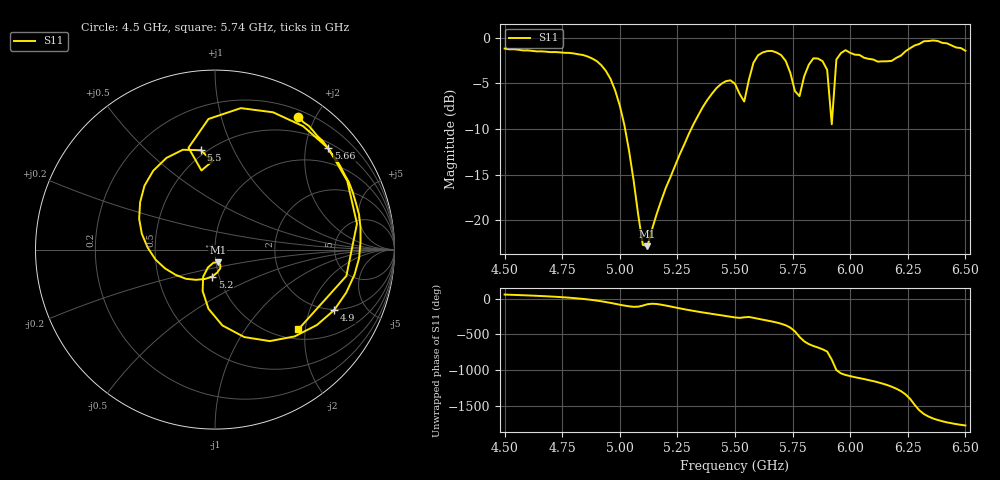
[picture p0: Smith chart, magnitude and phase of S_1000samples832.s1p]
! TOUCHSTONE file generated by CST MICROWAVE STUDIO
! Date and time: Sat Oct 29 13:16:26 2022
! Project name: L.cst
! Parameters = {Di=1.27; Epsilon_r=1.56; InnerDiameter=1.27; Length=2; Lf=10; Lg=60; OuterConductorThickness=0.2921; OuterDiameter=3.6; Wf=3; Wp=41.2; de=1.5; df=6.8; g=0.8; gx=2.29188; gy=0.827893; h=2.34; hf=1.524; px=9.68779; py=13.7811; w=9.7; wx=7.39591; wy=12.9533}
! Header version: 2018
! Port assignment regex: !\s*Touchstone port\s*([0-9]+)\s*=\s*(CST MWS port|CST DS port)\s*([0-9]+|Zmin|Zmax)\s*\(\"(.*)\"\)(\s*mode\s*([0-9]+))?.*
! Touchstone port assignment:
! Touchstone port 1 = CST MWS port 1 ("")
# GHz S DB R 50
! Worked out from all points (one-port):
!   101 points, 4.5 GHz to 6.5 GHz, reference 50 ohm
!   lowest |S11| = -22.8 dB at 5.12 GHz (marker M1), VSWR 1.16, Z = 51 - j7.24 ohm
!   |S11| at or under -10 dB: 5.023 GHz to 5.31 GHz (286.8 MHz wide, 5.55 % of centre)
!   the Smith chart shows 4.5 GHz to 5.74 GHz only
!   S11 on the Smith chart (normalised r, x): 4.5 GHz: 0.29, +1.78; 4.9 GHz: 1.98, -2.98; 5.2 GHz: 0.93, -0.29; 5.5 GHz: 0.47, +0.75; 5.66 GHz: 0.62, +2.49; 5.74 GHz: 1.21, -1.83
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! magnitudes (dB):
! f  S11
! 4.5 GHz  -1.2
! 4.76 GHz  -1.7
! 4.9 GHz  -2.6
! 4.96 GHz  -4.5
! 5 GHz  -7.4
! 5.04 GHz  -12.4
! 5.1 GHz  -22.7
! 5.12 GHz  -22.8
! 5.2 GHz  -16.4
! 5.26 GHz  -12.8
! 5.4 GHz  -6.1
! 5.5 GHz  -5.0
! 5.54 GHz  -7.0
! 5.58 GHz  -2.8
! 5.66 GHz  -1.4
! 5.74 GHz  -3.8
! 5.76 GHz  -5.8
! 5.78 GHz  -6.4
! 5.84 GHz  -2.3
! 5.88 GHz  -2.6
! 5.9 GHz  -3.5
! 5.92 GHz  -9.5
! 5.94 GHz  -2.4
! 6 GHz  -1.7
! 6.16 GHz  -2.6
! 6.26 GHz  -1.1
! 6.36 GHz  -0.3
! 6.5 GHz  -1.4
